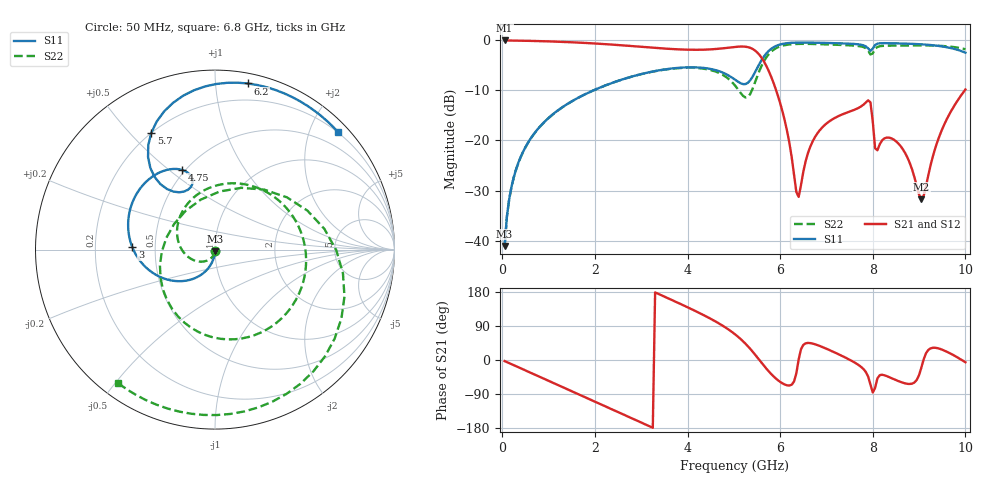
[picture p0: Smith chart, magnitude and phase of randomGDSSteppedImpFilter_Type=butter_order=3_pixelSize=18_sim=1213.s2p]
! freq	dB(S11)	phase(S11)	dB(S12)	phase(S12)
!  dB(S21)	phase(S21)	dB(S22)	phase(S22)
!S-par simulation data
#  GHz  S  DB  R 50
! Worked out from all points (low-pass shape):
!   200 points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, 50 MHz to 10 GHz, reference 50 ohm
!   highest |S21| = -0.01 dB at 50 MHz (marker M1); lowest = -31.7 dB at 9.05 GHz (marker M2)
!   |S21| within 3 dB of the highest: start of sweep to 5.562 GHz
!   lowest |S11| = -41.1 dB at 50 MHz (marker M3), VSWR 1.02, Z = 50 - j0.881 ohm
!   |S11| at or under -10 dB: start of sweep to 1.965 GHz
!   |S22| runs from -41.1 to -0.7 dB; largest |S21 - S12| = 0
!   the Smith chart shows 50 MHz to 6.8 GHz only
!   S11 on the Smith chart (normalised r, x): 50 MHz: 1.00, -0.02; 3 GHz: 0.37, +0.01; 4.75 GHz: 0.48, +0.56; 5.7 GHz: 0.20, +0.57; 6.2 GHz: 0.07, +1.22; 6.8 GHz: 0.19, +2.49
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0.05  -41.10 -90.0  -0.01 -2.8  -0.01 -2.8  -41.13 -92.7
0.2  -29.18 -95.9  -0.02 -11.1  -0.02 -11.1  -29.22 -106.0
0.5  -21.33 -105.4  -0.07 -27.5  -0.07 -27.5  -21.37 -130.6
1.75  -10.93 -142.0  -0.48 -96.1  -0.48 -96.1  -10.94 128.2
3  -6.73 178.3  -1.28 -165.0  -1.28 -165.0  -6.74 30.5
3.4  -5.95 163.9  -1.56 172.9  -1.56 172.9  -5.98 1.2
4.2  -5.39 132.9  -1.87 127.5  -1.87 127.5  -5.51 -57.3
4.75  -6.39 112.3  -1.59 91.2  -1.59 91.2  -6.83 -106.8
5.05  -8.00 108.2  -1.28 65.5  -1.28 65.5  -9.30 -152.2
5.45  -6.49 129.8  -1.96 15.5  -1.96 15.5  -8.55 67.0
5.7  -2.62 118.7  -5.07 -22.5  -5.07 -22.5  -3.40 -0.3
6.2  -0.51 78.8  -20.53 -67.4  -20.53 -67.4  -0.80 -74.7
6.4  -0.43 66.0  -31.28 1.7  -31.28 1.7  -0.69 -93.8
6.7  -0.44 48.9  -20.21 43.4  -20.21 43.4  -0.71 -118.3
6.8  -0.46 43.6  -18.63 39.6  -18.63 39.6  -0.73 -125.8
7.55  -0.67 6.1  -14.05 -2.6  -14.05 -2.6  -1.01 178.5
7.9  -1.58 -11.6  -11.97 -43.8  -11.97 -43.8  -2.02 147.5
8.05  -0.92 -9.0  -21.55 -73.8  -21.55 -73.8  -1.71 147.6
8.35  -0.56 -27.8  -19.43 -45.0  -19.43 -45.0  -1.04 116.0
9.05  -0.78 -63.2  -31.75 -19.6  -31.75 -19.6  -0.99 47.1
9.5  -1.20 -88.4  -17.72 27.2  -17.72 27.2  -1.10 4.6
10  -2.45 -123.2  -9.82 -5.9  -9.82 -5.9  -1.76 -37.7
